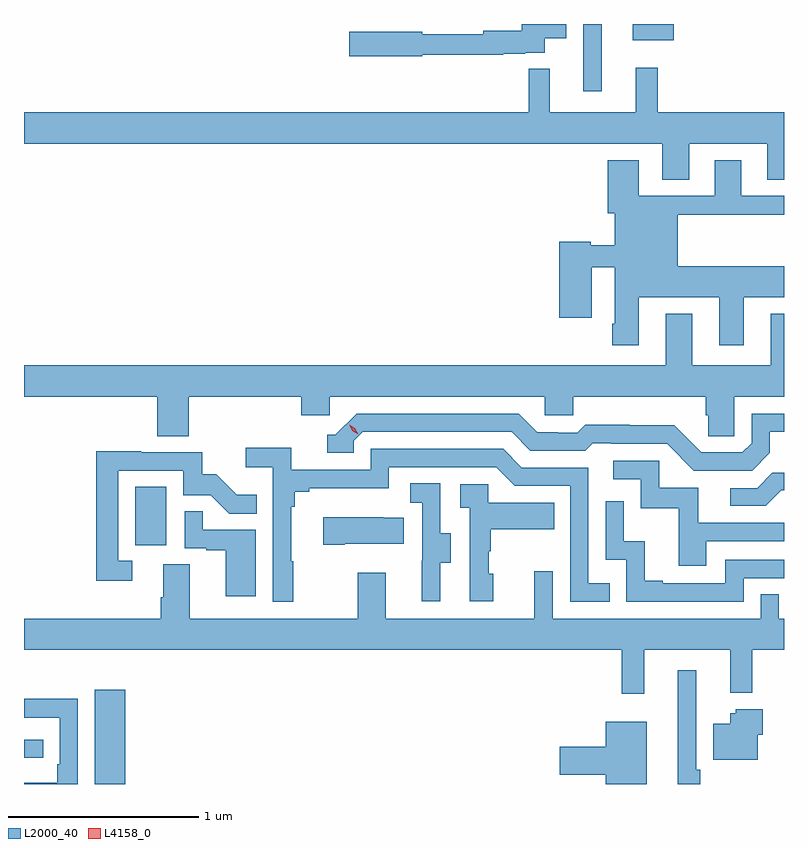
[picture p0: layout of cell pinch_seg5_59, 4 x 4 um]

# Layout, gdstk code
import gdstk
lib = gdstk.Library(unit=1e-6, precision=1e-09)
def R(c, l, rs):  # rectangles x0, y0, x1, y1
    for r in rs: c.add(gdstk.rectangle(r[:2], r[2:], *l))
def P(c, l, *ps):  # polygons
    for p in ps: c.add(gdstk.Polygon(p, *l))
L2000_40 = (2000, 40)
L4158_0 = (4158, 0)

pinch_seg5_59 = lib.new_cell('pinch_seg5_59')
R(pinch_seg5_59, L2000_40, [(1064.873,896.013,1065.034,896.509), (1064.501,896.151,1064.602,896.247), (1065.086,897.27,1065.25,897.577), (1067.445,899.658,1067.542,900.013), (1067.705,899.927,1067.92,900.013)])
P(pinch_seg5_59, L2000_40, [(1066.596,899.85),(1067.024,899.85),(1067.024,899.856),(1067.138,899.856),(1067.138,899.862),(1067.242,899.862),(1067.242,899.939),(1067.356,899.939),(1067.356,900.013),(1067.12,900.013),(1067.12,899.978),(1066.918,899.978),(1066.918,899.958),(1066.596,899.958),(1066.596,899.971),(1066.212,899.971),(1066.212,899.842),(1066.596,899.842)],
  [(1068.001,899.384),(1068.413,899.384),(1068.413,899.194),(1068.501,899.194),(1068.501,899.548),(1067.837,899.548),(1067.837,899.782),(1067.72,899.782),(1067.72,899.548),(1067.267,899.548),(1067.267,899.777),(1067.158,899.777),(1067.158,899.548),(1064.501,899.548),(1064.501,899.384),(1067.861,899.384),(1067.861,899.194),(1068.001,899.194)],
  [(1067.737,898.574),(1068.161,898.574),(1068.161,898.323),(1068.289,898.323),(1068.289,898.574),(1068.501,898.574),(1068.501,898.738),(1067.941,898.738),(1067.941,899.008),(1068.501,899.008),(1068.501,899.109),(1068.277,899.109),(1068.277,899.296),(1068.137,899.296),(1068.137,899.109),(1067.737,899.109),(1067.737,899.296),(1067.573,899.296),(1067.573,899.016),(1067.609,899.016),(1067.609,898.849),(1067.484,898.849),(1067.484,898.868),(1067.318,898.868),(1067.318,898.467),(1067.488,898.467),(1067.488,898.732),(1067.609,898.732),(1067.609,898.435),(1067.597,898.435),(1067.597,898.323),(1067.737,898.323)],
  [(1064.501,898.052),(1065.203,898.052),(1065.203,897.844),(1065.368,897.844),(1065.368,898.052),(1065.959,898.052),(1065.959,897.954),(1066.11,897.954),(1066.11,898.052),(1067.241,898.052),(1067.241,897.954),(1067.391,897.954),(1067.391,898.052),(1068.089,898.052),(1068.089,897.954),(1068.103,897.954),(1068.103,897.844),(1068.24,897.844),(1068.24,898.052),(1068.501,898.052),(1068.501,898.489),(1068.431,898.489),(1068.431,898.216),(1068.019,898.216),(1068.019,898.489),(1067.879,898.489),(1067.879,898.216),(1064.501,898.216)],
  [(1068.427,897.757),(1068.427,897.867),(1068.501,897.867),(1068.501,897.963),(1068.33,897.963),(1068.33,897.807),(1068.282,897.759),(1068.066,897.759),(1067.924,897.901),(1067.688,897.901),(1067.688,897.904),(1067.455,897.904),(1067.413,897.861),(1067.31,897.861),(1067.31,897.864),(1067.203,897.864),(1067.104,897.963),(1066.251,897.963),(1066.14,897.852),(1066.097,897.852),(1066.097,897.756),(1066.236,897.756),(1066.236,897.819),(1066.284,897.867),(1067.067,897.867),(1067.166,897.768),(1067.455,897.768),(1067.494,897.807),(1067.593,897.807),(1067.593,897.804),(1067.886,897.804),(1068.027,897.663),(1068.333,897.663)],
  [(1065.919,897.185),(1065.907,897.185),(1065.907,897.473),(1065.926,897.473),(1065.926,897.55),(1066.003,897.55),(1066.003,897.569),(1066.422,897.569),(1066.422,897.681),(1066.986,897.681),(1067.085,897.582),(1067.376,897.582),(1067.376,896.973),(1067.585,896.973),(1067.585,897.069),(1067.472,897.069),(1067.472,897.678),(1067.122,897.678),(1067.023,897.777),(1066.326,897.777),(1066.326,897.666),(1065.908,897.666),(1065.908,897.782),(1065.669,897.782),(1065.669,897.68),(1065.81,897.68),(1065.81,896.973),(1065.919,896.973)],
  [(1065.07,897.189),(1064.997,897.189),(1064.997,897.663),(1065.339,897.663),(1065.339,897.534),(1065.483,897.534),(1065.581,897.436),(1065.725,897.436),(1065.725,897.535),(1065.621,897.535),(1065.514,897.642),(1065.438,897.642),(1065.438,897.759),(1065.119,897.759),(1065.119,897.764),(1064.881,897.764),(1064.881,897.084),(1065.07,897.084)],
  [(1068.091,897.291),(1068.501,897.291),(1068.501,897.387),(1068.049,897.387),(1068.049,897.573),(1067.844,897.573),(1067.844,897.714),(1067.601,897.714),(1067.601,897.618),(1067.748,897.618),(1067.748,897.465),(1067.947,897.465),(1067.947,897.162),(1068.091,897.162)],
  [(1068.487,897.558),(1068.501,897.558),(1068.501,897.65),(1068.44,897.65),(1068.36,897.57),(1068.219,897.57),(1068.219,897.477),(1068.406,897.477)],
  [(1066.693,897.178),(1066.747,897.178),(1066.747,897.333),(1066.692,897.333),(1066.692,897.596),(1066.533,897.596),(1066.533,897.493),(1066.596,897.493),(1066.596,897.189),(1066.595,897.189),(1066.595,896.976),(1066.693,896.976)],
  [(1066.972,897.12),(1066.947,897.12),(1066.947,897.239),(1066.957,897.239),(1066.957,897.353),(1067.291,897.353),(1067.291,897.493),(1066.944,897.493),(1066.944,897.591),(1066.797,897.591),(1066.797,897.467),(1066.848,897.467),(1066.848,896.976),(1066.972,896.976)],
  [(1068.288,897.096),(1068.501,897.096),(1068.501,897.192),(1068.192,897.192),(1068.192,897.069),(1067.863,897.069),(1067.863,897.082),(1067.768,897.082),(1067.768,897.29),(1067.658,897.29),(1067.658,897.502),(1067.562,897.502),(1067.562,897.192),(1067.67,897.192),(1067.67,896.973),(1068.288,896.973)],
  [(1065.721,897.351),(1065.443,897.351),(1065.443,897.449),(1065.348,897.449),(1065.348,897.255),(1065.459,897.255),(1065.459,897.243),(1065.563,897.243),(1065.563,897),(1065.721,897)],
  [(1066.189,897.278),(1066.499,897.278),(1066.499,897.415),(1066.391,897.415),(1066.391,897.418),(1066.077,897.418),(1066.077,897.271),(1066.189,897.271)],
  [(1067.765,896.72),(1068.218,896.72),(1068.218,896.492),(1068.335,896.492),(1068.335,896.72),(1068.501,896.72),(1068.501,896.884),(1068.474,896.884),(1068.474,897.011),(1068.378,897.011),(1068.378,896.884),(1067.283,896.884),(1067.283,897.133),(1067.186,897.133),(1067.186,896.884),(1066.405,896.884),(1066.405,897.124),(1066.258,897.124),(1066.258,896.884),(1065.373,896.884),(1065.373,897.17),(1065.233,897.17),(1065.233,896.996),(1065.221,896.996),(1065.221,896.884),(1064.501,896.884),(1064.501,896.72),(1067.647,896.72),(1067.647,896.487),(1067.765,896.487)],
  [(1068.059,896.089),(1068.039,896.089),(1068.039,896.611),(1067.942,896.611),(1067.942,896.013),(1068.059,896.013)],
  [(1064.784,896.462),(1064.501,896.462),(1064.501,896.361),(1064.688,896.361),(1064.688,896.116),(1064.675,896.116),(1064.675,896.02),(1064.501,896.02),(1064.501,896.013),(1064.784,896.013)],
  [(1068.364,896.271),(1068.389,896.271),(1068.389,896.407),(1068.246,896.407),(1068.246,896.385),(1068.218,896.385),(1068.218,896.329),(1068.128,896.329),(1068.128,896.141),(1068.364,896.141)],
  [(1067.779,896.341),(1067.564,896.341),(1067.564,896.21),(1067.322,896.21),(1067.322,896.063),(1067.564,896.063),(1067.564,896.013),(1067.779,896.013)])
P(pinch_seg5_59, L4158_0, [(1066.26,897.853),(1066.228,897.872),(1066.212,897.904),(1066.212,897.904),(1066.212,897.904),(1066.243,897.885),(1066.26,897.853),(1066.26,897.853)])

lib.write_gds('pinch_seg5_59.gds')
